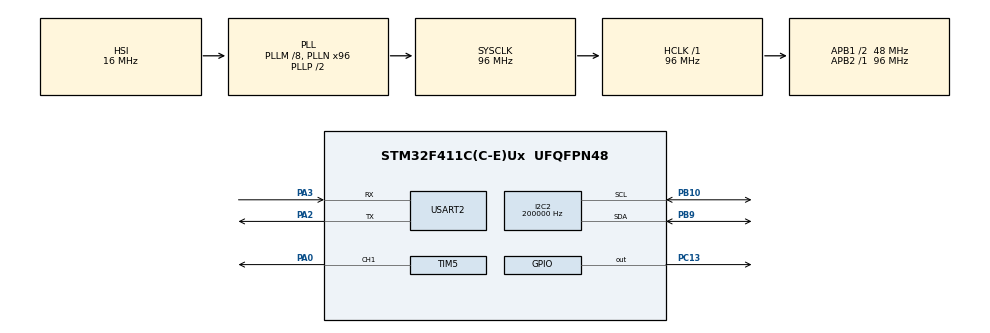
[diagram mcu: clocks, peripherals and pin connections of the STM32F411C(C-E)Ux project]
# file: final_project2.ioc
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I2C2.ClockSpeed=200000
I2C2.I2C_Mode=I2C_Fast
Mcu.Family=STM32F4
Mcu.Name=STM32F411C(C-E)Ux
Mcu.Package=UFQFPN48
NVIC.PriorityGroup=NVIC_PRIORITYGROUP_4
NVIC.USART2_IRQn=true\:0\:0\:false\:false\:true\:true\:true\:true
PA0-WKUP.Signal=S_TIM5_CH1
PA13.Mode=Serial_Wire
PA13.Signal=SYS_JTMS-SWDIO
PA14.Mode=Serial_Wire
PA14.Signal=SYS_JTCK-SWCLK
PA15.Signal=SPI1_NSS
PA2.Mode=Asynchronous
PA2.Signal=USART2_TX
PA3.Mode=Asynchronous
PA3.Signal=USART2_RX
PA6.Signal=SPI1_MISO
PA7.Signal=SPI1_MOSI
PB10.Mode=I2C
PB10.Signal=I2C2_SCL
PB3.Signal=SYS_JTDO-SWO
PB9.Mode=I2C
PB9.Signal=I2C2_SDA
PC13-ANTI_TAMP.Signal=GPIO_Output
PC14-OSC32_IN.Mode=LSE-External-Oscillator
PC14-OSC32_IN.Signal=RCC_OSC32_IN
PC15-OSC32_OUT.Mode=LSE-External-Oscillator
PC15-OSC32_OUT.Signal=RCC_OSC32_OUT
PH0\ -\ OSC_IN.Mode=HSE-External-Oscillator
PH0\ -\ OSC_IN.Signal=RCC_OSC_IN
PH1\ -\ OSC_OUT.Mode=HSE-External-Oscillator
PH1\ -\ OSC_OUT.Signal=RCC_OSC_OUT
ProjectManager.HeapSize=0x200
ProjectManager.StackSize=0x400
ProjectManager.TargetToolchain=STM32CubeIDE
RCC.48MHZClocksFreq_Value=48000000
RCC.AHBFreq_Value=96000000
RCC.APB1CLKDivider=RCC_HCLK_DIV2
RCC.APB1Freq_Value=48000000
RCC.APB1TimFreq_Value=96000000
RCC.APB2Freq_Value=96000000
RCC.APB2TimFreq_Value=96000000
RCC.CortexFreq_Value=96000000
RCC.HCLKFreq_Value=96000000
RCC.HSE_VALUE=25000000
RCC.HSI_VALUE=16000000
RCC.PLLM=8
RCC.PLLN=96
RCC.SYSCLKFreq_VALUE=96000000
RCC.SYSCLKSource=RCC_SYSCLKSOURCE_PLLCLK
RCC.VCOOutputFreq_Value=192000000
SH.S_TIM5_CH1.0=TIM5_CH1,PWM Generation1 CH1
TIM5.Channel-PWM\ Generation1\ CH1=TIM_CHANNEL_1
TIM5.Period=1919999
TIM5.Pulse-PWM\ Generation1\ CH1=96000
USART2.VirtualMode=VM_ASYNC
board=custom

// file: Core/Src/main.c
/* USER CODE BEGIN Header */
/**
  ******************************************************************************
  * @file           : main.c
  * @brief          : Main program body
  ******************************************************************************
  * @attention
  *
  * Copyright (c) 2024 STMicroelectronics.
  * All rights reserved.
  *
  * This software is licensed under terms that can be found in the LICENSE file
  * in the root directory of this software component.
  * If no LICENSE file comes with this software, it is provided AS-IS.
  *
  ******************************************************************************
  */
/* USER CODE END Header */
#include "main.h"

/* USER CODE BEGIN Includes */
#include "string.h"
#include <stdlib.h>
#include <stdio.h>
#include "stm32f411xe.h"
#include "stm32f4xx_hal_uart.h"
#include "stm32f4xx_hal_rcc.h"
#include <stdbool.h>
#include "stm32f4xx_hal.h"
#include "stm32f4xx_hal_i2c.h"
#include "encoder_driver.h"
#include "encoder_return.h"

/* USER CODE END Includes */

/* USER CODE BEGIN PD */

#define IMU_ADDR (0x28)
#define OP_MODE_REG (0x3D)
#define NDOF_MODE (0x0C)
#define EUL_X (0x1A)
#define GYR_Y_LSB (0x16)

#define velo_error velo_meas;
float   actuation_pwm;
float   actuation_acc;
float   actuation_acc_prev;
float actuation_pwm_prev;

#define AS5600_Angle_118    0x0E // addresses for angle readings
#define AS5600_Angle_70     0x0F

uint32_t i;
uint32_t count;

//UART
char transmit_buff[150];
uint16_t n;

/* USER CODE END PD */

I2C_HandleTypeDef hi2c2;

TIM_HandleTypeDef htim5;

UART_HandleTypeDef huart2;

/* USER CODE BEGIN PV */
//I2C
uint32_t scan;
uint32_t result;
uint16_t i2c_buff_write[1];
int16_t i2c_buff_read[6];
int16_t i2c_buff_gyro[2];
float eul_x, eul_y,eul_z;
int16_t gyr_y;
float eul_y_offset;

//controller
float pos_meas;  /// measurement from the IMU
uint16_t velo_meas; /// measurement from the IMU

float pos_setpoint;
float pos_error;

float kp;
float kd;
float e_sum;

// servo variables
int PWM_DC1 = 4538; // 1.5 ms pulse (stopped)
uint16_t channel;
uint16_t ch1_strt;
uint16_t ch1_end;
uint16_t ch1_pwm;

/* USER CODE END PV */

void SystemClock_Config(void);
static void MX_GPIO_Init(void);
static void MX_USART2_UART_Init(void);
static void MX_TIM5_Init(void);
static void MX_I2C2_Init(void);
/* USER CODE BEGIN PFP */
void set_motor(uint32_t servo_cmp);
void start_motor(void);
float get_pos(void);
int16_t get_vel(void);
/* USER CODE END PFP */

int main(void)
{

  /* MCU Configuration--------------------------------------------------------*/

  /* Reset of all peripherals, Initializes the Flash interface and the Systick. */
  HAL_Init();

  /* Configure the system clock */
  SystemClock_Config();

  /* Initialize all configured peripherals */
  MX_GPIO_Init();
  MX_USART2_UART_Init();
  MX_TIM5_Init();
  MX_I2C2_Init();
  /* USER CODE BEGIN 2 */
  HAL_TIM_PWM_Start(&htim5, TIM_CHANNEL_1);
  HAL_I2C_Init(&hi2c2);
  HAL_I2C_Init(&hi2c1); // init I2C for encoder

  HAL_TIM_PWM_Start(&htim4,TIM_CHANNEL_1); // initialize servo PWM

  HAL_TIM_IC_Start_IT(&htim2, TIM_CHANNEL_1); // remote input
  HAL_TIM_IC_Start_IT(&htim2, TIM_CHANNEL_2);

  __HAL_TIM_SET_COMPARE(&htim4, TIM_CHANNEL_1, PWM_DC1); // set the servo compare value

  memset(buffer, ' ', 30);

  //testing stuff
  	  n = sprintf(transmit_buff,"UART initialized \r\n");
  	  HAL_UART_Transmit(&huart2, (uint8_t *) &transmit_buff, n, HAL_MAX_DELAY); //transmit the read data
  	//I2C initialization stuff

  	    	  for (i = 1; i < 128; i++) {
  	    	          result = HAL_I2C_IsDeviceReady(&hi2c2, (uint16_t)(i << 1), 1, 10);

  	    	          if (result == HAL_OK) {
  	    	              n=sprintf(transmit_buff,"Device found at address 0x%02d\n\r",(int) i);
  	    	              HAL_UART_Transmit(&huart2, (uint8_t *) &transmit_buff, n, HAL_MAX_DELAY); //transmit the read data
  	    	          }
  	    	      }
  	    	      n=sprintf(transmit_buff,"Scan completed.\n\r");
  	    	      HAL_UART_Transmit(&huart2, (uint8_t *) &transmit_buff, n, HAL_MAX_DELAY); //transmit the read data

  	    	      scan = HAL_I2C_IsDeviceReady(&hi2c2,(uint16_t)(IMU_ADDR << 1) , 1, 10);

  	    	          if (scan == HAL_OK) {
  	    	              n=sprintf(transmit_buff,"IMU Found at 40\n\r");
  	    	              HAL_UART_Transmit(&huart2, (uint8_t *) &transmit_buff, n, HAL_MAX_DELAY); //transmit the read data

  	    	          }
  	    	          if (scan != HAL_OK) {
  	    	             n=sprintf(transmit_buff,"No IMU found\n\r");
  	    	             HAL_UART_Transmit(&huart2, (uint8_t *) &transmit_buff, n, HAL_MAX_DELAY); //transmit the read data
  	    	             HAL_Delay(100000);
  	    	          }

//put the devise in NDOF mode
i2c_buff_write[0]=NDOF_MODE;

//initialize motor
start_motor();

set_motor(160000);
HAL_Delay(3000);

for (i = 10; i >0; i--) {
	 n=sprintf(transmit_buff,"Launching in %ld\n\r",i);
	  	    	             HAL_UART_Transmit(&huart2, (uint8_t *) &transmit_buff, n, HAL_MAX_DELAY); //transmit the read data
	  	    	             HAL_Delay(1000);
}

HAL_I2C_Mem_Write (&hi2c2,IMU_ADDR << 1, OP_MODE_REG, I2C_MEMADD_SIZE_8BIT , (uint8_t *) &i2c_buff_write, 1 , HAL_MAX_DELAY );
//find offset for euler angle y
for (i=0; i<20;i++){
HAL_I2C_Mem_Read(&hi2c2, IMU_ADDR << 1,  EUL_X  , I2C_MEMADD_SIZE_8BIT,(uint8_t *)&i2c_buff_read,6,HAL_MAX_DELAY);
HAL_Delay(20);
}
HAL_I2C_Mem_Read(&hi2c2, IMU_ADDR << 1,  EUL_X  , I2C_MEMADD_SIZE_8BIT,(uint8_t *)&i2c_buff_read,6,HAL_MAX_DELAY);
eul_y_offset=((i2c_buff_read[3]<<8 | i2c_buff_read[2])/16);

//controller parameters initially
kp=5;
kd=0;
int ki=0;
pos_setpoint=0;
actuation_acc_prev=160000;
actuation_pwm_prev=0;

//encoder variables
char buffer [50];
int n;
int counter = 0;
int multiple = 30000; // common denominator used for UART output timing
int enc_angle = 0;
int I2C_Encoder [2];
int angle_init = 0;

// Make a servo object

        motor_t servo = {
       		 	 	 .duty    = 0,
   					 .timer = &htim4,
   					 .channel1 = TIM_CHANNEL_1};

        servo_t servo1 = {
       		 	 	 .angle    = 0,
   					 .timer = &htim4,
   					 .channel1 = TIM_CHANNEL_1};

  /* USER CODE END 2 */

  /* Infinite loop */
  /* USER CODE BEGIN WHILE */
  while (1)
    {

  	  //measure velocity and position

  	  pos_meas= get_pos();
      velo_meas=get_vel();

      pos_error=pos_setpoint-pos_meas;
      e_sum=e_sum+pos_error;

      // Simplified step-by-step calculation
      float kp_term = kp * pos_error;
      float kd_term = kd * velo_error;
      float ki_term= ki * e_sum;
      actuation_pwm = kp_term + kd_term + ki_term;

  	  //for loop to do the ramp input of pwm
  	  for (i = 1; i < 5; i++) {

  		  actuation_acc=i*actuation_pwm+actuation_acc_prev;;

  		  //these if statements limit pwm control within available range
  		  if(actuation_acc>190000){
  			actuation_acc=190000;
  		  }
  		 if(actuation_acc<96000){
  		   actuation_acc=96000;
  		  }
  		HAL_Delay(0);
  		set_motor(actuation_acc);

  	  }
  	 actuation_acc_prev=actuation_acc;

  	 n=sprintf(transmit_buff,"PWM: %ld\n\r",(int32_t)actuation_acc);
  	  	 	HAL_UART_Transmit(&huart2, (uint8_t *) &transmit_buff, n, HAL_MAX_DELAY); //transmit the read data

  	 //encoder code
  	 //HAL_StatusTypeDef status = HAL_I2C_IsDeviceReady(&hi2c1, 0x36 << 1, 3, HAL_MAX_DELAY);
  	 HAL_I2C_Mem_Read(&hi2c1,0x36 << 1, AS5600_Angle_70, I2C_MEMADD_SIZE_8BIT, (uint8_t*) I2C_Encoder, 2, 100);
  	 enc_angle = I2C_Encoder[0] << 8 | I2C_Encoder[1] - angle_init;
  	 set_duty(&servo, ch1_pwm); // encoder duty input

  	 if (counter % multiple == 0) // used for display message timing

  	 {
  	 	  n = sprintf(buffer, "Angle = %d \n\r", enc_angle); //pwm message
  	 	  HAL_UART_Transmit(&huart2, (uint8_t *) buffer, n, 200);
  	 	  n = sprintf(buffer, "Duty = %d us\n\r", ch1_pwm); //pwm message
  	 	  HAL_UART_Transmit(&huart2, (uint8_t *) buffer, n, 200);
  	 }

  	 else if (counter == 10)
  	 {
  	 	  angle_init = I2C_Encoder[0] << 8 | I2C_Encoder[1];
  	 }
  	 else if (ch1_pwm > 1510 && ch1_pwm < 1520) // if basically no input
  	 {
  	 	  encoder_return(&servo1, enc_angle);
  	 }

  	 counter = counter+1;

    /* USER CODE END WHILE */

    /* USER CODE BEGIN 3 */
  } // end of while
} //end of main

void HAL_TIM_IC_CaptureCallback (TIM_HandleTypeDef * htim)

{

     // get active channel to see what triggered the interrupt
    channel = HAL_TIM_GetActiveChannel (htim);
    if (channel == HAL_TIM_ACTIVE_CHANNEL_1) // if reads forward press
     {
         ch1_strt = HAL_TIM_ReadCapturedValue(htim, TIM_CHANNEL_1);
     }
    else if (channel == HAL_TIM_ACTIVE_CHANNEL_2) // if read reverse press
    {
    	ch1_end = HAL_TIM_ReadCapturedValue(htim, TIM_CHANNEL_2);
    	ch1_pwm = ch1_end - ch1_strt;
    	if (ch1_pwm > 65536/2) // overflow correction
    	{
    		ch1_pwm = 65536 + 1 - ch1_strt + ch1_end;
    	}
    	else if (ch1_pwm < -65536/2) // underflow correction
    	{
    		ch1_pwm = -1*(65536 + 1 - ch1_strt + ch1_end);
    	}
    	else if (ch1_pwm < -15000) // ignore erroneous values
    	{

    	}
    	else if (ch1_pwm > 15000) // ignore erroneous values
    	{

    	}
    }
  /* USER CODE END 3 */
}

void SystemClock_Config(void)
{
  RCC_OscInitTypeDef RCC_OscInitStruct = {0};
  RCC_ClkInitTypeDef RCC_ClkInitStruct = {0};

  /** Configure the main internal regulator output voltage
  */
  __HAL_RCC_PWR_CLK_ENABLE();
  __HAL_PWR_VOLTAGESCALING_CONFIG(PWR_REGULATOR_VOLTAGE_SCALE1);

  /** Initializes the RCC Oscillators according to the specified parameters
  * in the RCC_OscInitTypeDef structure.
  */
  RCC_OscInitStruct.OscillatorType = RCC_OSCILLATORTYPE_HSI;
  RCC_OscInitStruct.HSIState = RCC_HSI_ON;
  RCC_OscInitStruct.HSICalibrationValue = RCC_HSICALIBRATION_DEFAULT;
  RCC_OscInitStruct.PLL.PLLState = RCC_PLL_ON;
  RCC_OscInitStruct.PLL.PLLSource = RCC_PLLSOURCE_HSI;
  RCC_OscInitStruct.PLL.PLLM = 8;
  RCC_OscInitStruct.PLL.PLLN = 96;
  RCC_OscInitStruct.PLL.PLLP = RCC_PLLP_DIV2;
  RCC_OscInitStruct.PLL.PLLQ = 4;
  if (HAL_RCC_OscConfig(&RCC_OscInitStruct) != HAL_OK)
  {
    Error_Handler();
  }

  /** Initializes the CPU, AHB and APB buses clocks
  */
  RCC_ClkInitStruct.ClockType = RCC_CLOCKTYPE_HCLK|RCC_CLOCKTYPE_SYSCLK
                              |RCC_CLOCKTYPE_PCLK1|RCC_CLOCKTYPE_PCLK2;
  RCC_ClkInitStruct.SYSCLKSource = RCC_SYSCLKSOURCE_PLLCLK;
  RCC_ClkInitStruct.AHBCLKDivider = RCC_SYSCLK_DIV1;
  RCC_ClkInitStruct.APB1CLKDivider = RCC_HCLK_DIV2;
  RCC_ClkInitStruct.APB2CLKDivider = RCC_HCLK_DIV1;

  if (HAL_RCC_ClockConfig(&RCC_ClkInitStruct, FLASH_LATENCY_3) != HAL_OK)
  {
    Error_Handler();
  }
}

static void MX_I2C2_Init(void)
{

  hi2c2.Instance = I2C2;
  hi2c2.Init.ClockSpeed = 200000;
  hi2c2.Init.DutyCycle = I2C_DUTYCYCLE_2;
  hi2c2.Init.OwnAddress1 = 0;
  hi2c2.Init.AddressingMode = I2C_ADDRESSINGMODE_7BIT;
  hi2c2.Init.DualAddressMode = I2C_DUALADDRESS_DISABLE;
  hi2c2.Init.OwnAddress2 = 0;
  hi2c2.Init.GeneralCallMode = I2C_GENERALCALL_DISABLE;
  hi2c2.Init.NoStretchMode = I2C_NOSTRETCH_DISABLE;
  if (HAL_I2C_Init(&hi2c2) != HAL_OK)
  {
    Error_Handler();
  }

}

static void MX_TIM5_Init(void)
{

  TIM_MasterConfigTypeDef sMasterConfig = {0};
  TIM_OC_InitTypeDef sConfigOC = {0};

  htim5.Instance = TIM5;
  htim5.Init.Prescaler = 0;
  htim5.Init.CounterMode = TIM_COUNTERMODE_UP;
  htim5.Init.Period = 1919999;
  htim5.Init.ClockDivision = TIM_CLOCKDIVISION_DIV1;
  htim5.Init.AutoReloadPreload = TIM_AUTORELOAD_PRELOAD_DISABLE;
  if (HAL_TIM_PWM_Init(&htim5) != HAL_OK)
  {
    Error_Handler();
  }
  sMasterConfig.MasterOutputTrigger = TIM_TRGO_RESET;
  sMasterConfig.MasterSlaveMode = TIM_MASTERSLAVEMODE_DISABLE;
  if (HAL_TIMEx_MasterConfigSynchronization(&htim5, &sMasterConfig) != HAL_OK)
  {
    Error_Handler();
  }
  sConfigOC.OCMode = TIM_OCMODE_PWM1;
  sConfigOC.Pulse = 96000;
  sConfigOC.OCPolarity = TIM_OCPOLARITY_HIGH;
  sConfigOC.OCFastMode = TIM_OCFAST_DISABLE;
  if (HAL_TIM_PWM_ConfigChannel(&htim5, &sConfigOC, TIM_CHANNEL_1) != HAL_OK)
  {
    Error_Handler();
  }
  HAL_TIM_MspPostInit(&htim5);

}

static void MX_USART2_UART_Init(void)
{

  huart2.Instance = USART2;
  huart2.Init.BaudRate = 115200;
  huart2.Init.WordLength = UART_WORDLENGTH_8B;
  huart2.Init.StopBits = UART_STOPBITS_1;
  huart2.Init.Parity = UART_PARITY_NONE;
  huart2.Init.Mode = UART_MODE_TX_RX;
  huart2.Init.HwFlowCtl = UART_HWCONTROL_NONE;
  huart2.Init.OverSampling = UART_OVERSAMPLING_16;
  if (HAL_UART_Init(&huart2) != HAL_OK)
  {
    Error_Handler();
  }

}

static void MX_GPIO_Init(void)
{
  GPIO_InitTypeDef GPIO_InitStruct = {0};

  /* GPIO Ports Clock Enable */
  __HAL_RCC_GPIOC_CLK_ENABLE();
  __HAL_RCC_GPIOH_CLK_ENABLE();
  __HAL_RCC_GPIOA_CLK_ENABLE();
  __HAL_RCC_GPIOB_CLK_ENABLE();

  /*Configure GPIO pin Output Level */
  HAL_GPIO_WritePin(GPIOC, GPIO_PIN_13, GPIO_PIN_RESET);

  /*Configure GPIO pin : PC13 */
  GPIO_InitStruct.Pin = GPIO_PIN_13;
  GPIO_InitStruct.Mode = GPIO_MODE_OUTPUT_PP;
  GPIO_InitStruct.Pull = GPIO_NOPULL;
  GPIO_InitStruct.Speed = GPIO_SPEED_FREQ_LOW;
  HAL_GPIO_Init(GPIOC, &GPIO_InitStruct);

  /*Configure GPIO pins : PA6 PA7 PA15 */
  GPIO_InitStruct.Pin = GPIO_PIN_6|GPIO_PIN_7|GPIO_PIN_15;
  GPIO_InitStruct.Mode = GPIO_MODE_AF_PP;
  GPIO_InitStruct.Pull = GPIO_NOPULL;
  GPIO_InitStruct.Speed = GPIO_SPEED_FREQ_VERY_HIGH;
  GPIO_InitStruct.Alternate = GPIO_AF5_SPI1;
  HAL_GPIO_Init(GPIOA, &GPIO_InitStruct);

}

/* USER CODE BEGIN 4 */
void set_motor(uint32_t servo_cmp)
	  {
	  	  __HAL_TIM_SET_COMPARE(&htim5, TIM_CHANNEL_1, servo_cmp);
	  	 //n=sprintf(transmit_buff,"Motor set: %ld\n\r",servo_cmp);
	  	 //HAL_UART_Transmit(&huart2, (uint8_t *) &transmit_buff, n, HAL_MAX_DELAY); //transmit the read data
	  }
void start_motor(){
	  	  __HAL_TIM_SET_COMPARE(&htim5, TIM_CHANNEL_1, 143000);
	  	  HAL_Delay(3000);
	  	  n=sprintf(transmit_buff,"Motor start completed.\n\r");
	  	  HAL_UART_Transmit(&huart2, (uint8_t *) &transmit_buff, n, HAL_MAX_DELAY); //transmit the read data

	  }
float get_pos(){
	HAL_I2C_Mem_Read(&hi2c2, IMU_ADDR << 1,  EUL_X  , I2C_MEMADD_SIZE_8BIT,(uint8_t *)&i2c_buff_read,6,HAL_MAX_DELAY);

		  HAL_I2C_ModeTypeDef error = HAL_I2C_GetError(&hi2c2);
		  if (error!= HAL_I2C_ERROR_NONE){
			  n=sprintf(transmit_buff,"I2C error\n\r");
			  //HAL_UART_Transmit(&huart2, (uint16_t *) &transmit_buff, n, HAL_MAX_DELAY);
			  //HAL_Delay(500);

		  }

		  eul_x=(i2c_buff_read[1]<<8 | i2c_buff_read[0])/16;
		  eul_y=((i2c_buff_read[3]<<8 | i2c_buff_read[2])/16.0)-eul_y_offset;
		  int eul_y_int=(int)eul_y;
		  eul_z=(i2c_buff_read[5]<<8 | i2c_buff_read[4])/16;

		  n=sprintf(transmit_buff,"EUL_Y= %d\n\r", eul_y_int);
		  HAL_UART_Transmit(&huart2, (uint8_t *) &transmit_buff, n, HAL_MAX_DELAY);
		  return eul_y;

}
int16_t get_vel(){
	 HAL_I2C_Mem_Read(&hi2c2, IMU_ADDR << 1,  GYR_Y_LSB  , I2C_MEMADD_SIZE_8BIT,(uint8_t *)&i2c_buff_gyro,2,HAL_MAX_DELAY);

	          HAL_I2C_ModeTypeDef error = HAL_I2C_GetError(&hi2c2);
	  		  if (error!= HAL_I2C_ERROR_NONE){
	  			  n=sprintf(transmit_buff,"I2C error\n\r");
	  			  //HAL_UART_Transmit(&huart2, (uint16_t *) &transmit_buff, n, HAL_MAX_DELAY);
	  			  //HAL_Delay(500);

	  		  }

	  		  gyr_y=(i2c_buff_gyro[1]<<8 | i2c_buff_gyro[0])/16;
	  		  int gyr_y_int=(int)gyr_y;

	  		  n=sprintf(transmit_buff,"GYRO_Y=%d\n\r", gyr_y_int);
	  		  HAL_UART_Transmit(&huart2, (uint8_t *) &transmit_buff, n, HAL_MAX_DELAY);
		  return gyr_y;

}

/* USER CODE END 4 */

void Error_Handler(void)
{
  __disable_irq();
  while (1)
  {
  }
}
